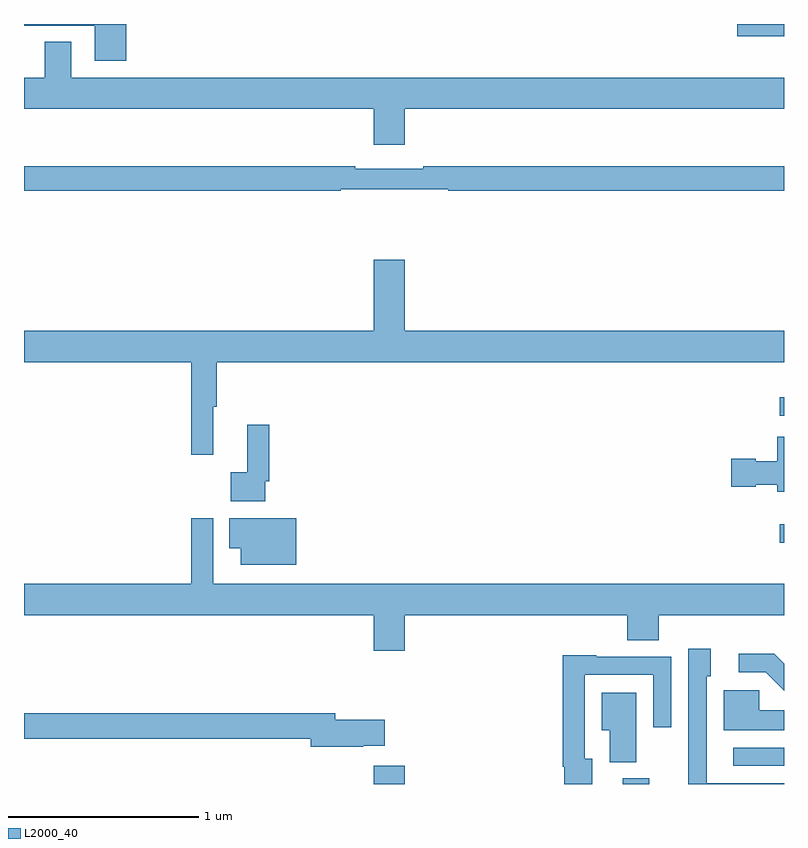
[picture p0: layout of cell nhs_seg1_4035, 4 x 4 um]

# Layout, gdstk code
import gdstk
lib = gdstk.Library(unit=1e-6, precision=1e-09)
def R(c, l, rs):  # rectangles x0, y0, x1, y1
    for r in rs: c.add(gdstk.rectangle(r[:2], r[2:], *l))
def P(c, l, *ps):  # polygons
    for p in ps: c.add(gdstk.Polygon(p, *l))
L2000_40 = (2000, 40)

nhs_seg1_4035 = lib.new_cell('nhs_seg1_4035')
R(nhs_seg1_4035, L2000_40, [(332.84,528.199,333.004,528.295), (334.151,528.199,334.291,528.228), (334.734,528.294,335,528.39), (334.977,529.47,335,529.567), (334.977,530.136,335,530.234), (334.755,532.134,335,532.199)])
P(nhs_seg1_4035, L2000_40, [(331.538,532.199),(331,532.199),(331,532.191),(331.373,532.191),(331.373,532.005),(331.538,532.005)],
  [(331.249,532.106),(331.109,532.106),(331.109,531.916),(331,531.916),(331,531.752),(332.84,531.752),(332.84,531.564),(333.004,531.564),(333.004,531.752),(335,531.752),(335,531.916),(331.249,531.916)],
  [(332.666,531.33),(333.233,531.33),(333.233,531.322),(335,531.322),(335,531.451),(333.1,531.451),(333.1,531.438),(332.744,531.438),(332.744,531.451),(331,531.451),(331,531.322),(332.666,531.322)],
  [(331.997,530.184),(332.015,530.184),(332.015,530.42),(335,530.42),(335,530.584),(333.004,530.584),(333.004,530.959),(332.84,530.959),(332.84,530.584),(331,530.584),(331,530.42),(331.879,530.42),(331.879,529.932),(331.997,529.932)],
  [(332.271,529.792),(332.291,529.792),(332.291,530.089),(332.174,530.089),(332.174,529.841),(332.088,529.841),(332.088,529.688),(332.271,529.688)],
  [(335,530.026),(334.964,530.026),(334.964,529.897),(334.851,529.897),(334.851,529.91),(334.722,529.91),(334.722,529.763),(334.851,529.763),(334.851,529.775),(334.964,529.775),(334.964,529.736),(335,529.736)],
  [(332.84,528.9),(333.004,528.9),(333.004,529.088),(334.175,529.088),(334.175,528.955),(334.34,528.955),(334.34,529.088),(335,529.088),(335,529.252),(331.995,529.252),(331.995,529.597),(331.879,529.597),(331.879,529.252),(331,529.252),(331,529.088),(332.84,529.088)],
  [(332.434,529.597),(332.08,529.597),(332.08,529.439),(332.141,529.439),(332.141,529.352),(332.434,529.352)],
  [(335,528.204),(334.593,528.204),(334.593,528.765),(334.615,528.765),(334.615,528.91),(334.497,528.91),(334.497,528.41),(334.496,528.41),(334.496,528.199),(335,528.199)],
  [(335,528.832),(334.948,528.884),(334.761,528.884),(334.761,528.786),(334.905,528.786),(335,528.691)],
  [(333.991,528.333),(333.951,528.333),(333.951,528.774),(334.311,528.774),(334.311,528.498),(334.407,528.498),(334.407,528.87),(334.011,528.87),(334.011,528.877),(333.835,528.877),(333.835,528.289),(333.843,528.289),(333.843,528.199),(333.991,528.199)],
  [(335,528.586),(334.869,528.586),(334.869,528.693),(334.682,528.693),(334.682,528.482),(335,528.482)],
  [(334.222,528.679),(334.04,528.679),(334.04,528.482),(334.082,528.482),(334.082,528.313),(334.222,528.313)],
  [(332.786,528.401),(332.899,528.401),(332.899,528.536),(332.638,528.536),(332.638,528.572),(331,528.572),(331,528.436),(332.51,528.436),(332.51,528.394),(332.786,528.394)])

lib.write_gds('nhs_seg1_4035.gds')
